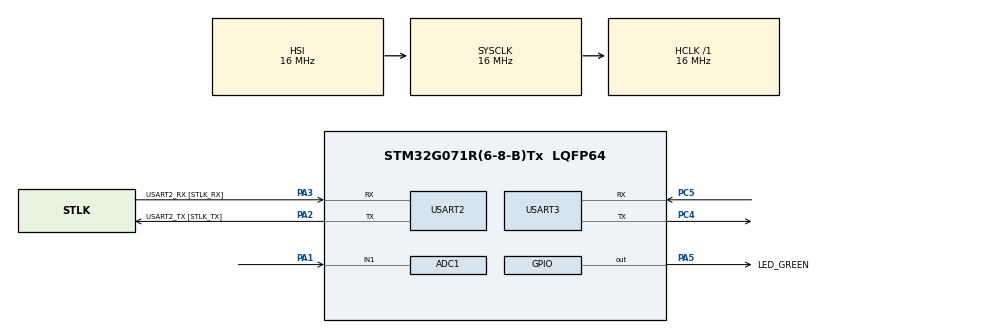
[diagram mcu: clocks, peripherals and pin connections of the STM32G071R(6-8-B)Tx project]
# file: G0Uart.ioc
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ADC1.Channel-0\#ChannelRegularConversion=ADC_CHANNEL_1
ADC1.ContinuousConvMode=ENABLE
ADC1.NbrOfConversionFlag=1
ADC1.Rank-0\#ChannelRegularConversion=1
ADC1.SamplingTime-0\#ChannelRegularConversion=ADC_SAMPLINGTIME_COMMON_1
ADC1.SelectedChannel=ADC_CHANNEL_1
ADC1.master=1
Dma.ADC1.0.Direction=DMA_PERIPH_TO_MEMORY
Dma.ADC1.0.EventEnable=DISABLE
Dma.ADC1.0.Instance=DMA1_Channel1
Dma.ADC1.0.MemDataAlignment=DMA_MDATAALIGN_HALFWORD
Dma.ADC1.0.MemInc=DMA_MINC_ENABLE
Dma.ADC1.0.Mode=DMA_NORMAL
Dma.ADC1.0.PeriphDataAlignment=DMA_PDATAALIGN_HALFWORD
Dma.ADC1.0.PeriphInc=DMA_PINC_DISABLE
Dma.ADC1.0.Polarity=HAL_DMAMUX_REQ_GEN_RISING
Dma.ADC1.0.Priority=DMA_PRIORITY_LOW
Dma.ADC1.0.RequestNumber=1
Dma.ADC1.0.SignalID=NONE
Dma.ADC1.0.SyncEnable=DISABLE
Dma.ADC1.0.SyncPolarity=HAL_DMAMUX_SYNC_NO_EVENT
Dma.ADC1.0.SyncRequestNumber=1
Dma.ADC1.0.SyncSignalID=NONE
Dma.Request0=ADC1
Dma.Request1=USART3_RX
Dma.USART3_RX.1.Direction=DMA_PERIPH_TO_MEMORY
Dma.USART3_RX.1.EventEnable=DISABLE
Dma.USART3_RX.1.Instance=DMA1_Channel2
Dma.USART3_RX.1.MemDataAlignment=DMA_MDATAALIGN_BYTE
Dma.USART3_RX.1.MemInc=DMA_MINC_ENABLE
Dma.USART3_RX.1.Mode=DMA_NORMAL
Dma.USART3_RX.1.PeriphDataAlignment=DMA_PDATAALIGN_BYTE
Dma.USART3_RX.1.PeriphInc=DMA_PINC_DISABLE
Dma.USART3_RX.1.Polarity=HAL_DMAMUX_REQ_GEN_RISING
Dma.USART3_RX.1.Priority=DMA_PRIORITY_LOW
Dma.USART3_RX.1.RequestNumber=1
Dma.USART3_RX.1.SignalID=NONE
Dma.USART3_RX.1.SyncEnable=DISABLE
Dma.USART3_RX.1.SyncPolarity=HAL_DMAMUX_SYNC_NO_EVENT
Dma.USART3_RX.1.SyncRequestNumber=1
Dma.USART3_RX.1.SyncSignalID=NONE
Mcu.Family=STM32G0
Mcu.Name=STM32G071R(6-8-B)Tx
Mcu.Package=LQFP64
NVIC.ADC1_COMP_IRQn=true\:0\:0\:false\:false\:true\:true\:true\:true
NVIC.DMA1_Channel1_IRQn=true\:0\:0\:false\:false\:true\:false\:true\:true
NVIC.DMA1_Channel2_3_IRQn=true\:0\:0\:false\:false\:true\:false\:true\:true
NVIC.USART3_4_LPUART1_IRQn=true\:0\:0\:false\:false\:true\:true\:true\:true
PA1.Mode=IN1
PA1.Signal=ADC1_IN1
PA13.GPIO_Label=TMS
PA13.Mode=Serial_Wire
PA13.Signal=SYS_SWDIO
PA14-BOOT0.GPIO_Label=TCK
PA14-BOOT0.Mode=Serial_Wire
PA14-BOOT0.Signal=SYS_SWCLK
PA2.GPIO_Label=USART2_TX [STLK_TX]
PA2.GPIO_PuPd=GPIO_PULLUP
PA2.Mode=Asynchronous
PA2.Signal=USART2_TX
PA3.GPIO_Label=USART2_RX [STLK_RX]
PA3.GPIO_PuPd=GPIO_PULLUP
PA3.Mode=Asynchronous
PA3.Signal=USART2_RX
PA5.GPIO_Label=LED_GREEN
PA5.GPIO_Speed=GPIO_SPEED_FREQ_HIGH
PA5.Signal=GPIO_Output
PC13.Mode=SYS_WakeUp1
PC13.Signal=SYS_WKUP2
PC14-OSC32_IN\ (PC14).Mode=LSE-External-Oscillator
PC14-OSC32_IN\ (PC14).Signal=RCC_OSC32_IN
PC15-OSC32_OUT\ (PC15).Mode=LSE-External-Oscillator
PC15-OSC32_OUT\ (PC15).Signal=RCC_OSC32_OUT
PC4.Mode=Asynchronous
PC4.Signal=USART3_TX
PC5.Mode=Asynchronous
PC5.Signal=USART3_RX
PF0-OSC_IN\ (PF0).GPIO_Label=MCO
PF0-OSC_IN\ (PF0).Mode=HSE-External-Clock-Source
PF0-OSC_IN\ (PF0).Signal=RCC_OSC_IN
ProjectManager.HeapSize=0x200
ProjectManager.StackSize=0x400
ProjectManager.TargetToolchain=STM32CubeIDE
RCC.AHBFreq_Value=16000000
RCC.CortexFreq_Value=16000000
RCC.EXTERNAL_CLOCK_VALUE=12288000
RCC.HCLKFreq_Value=16000000
RCC.HSE_VALUE=8000000
RCC.HSI_VALUE=16000000
RCC.SYSCLKFreq_VALUE=16000000
RCC.VCOOutputFreq_Value=128000000
TIM2.Period=30-1
TIM2.Prescaler=16-1
USART2.VirtualMode-Asynchronous=VM_ASYNC
USART3.VirtualMode-Asynchronous=VM_ASYNC
VP_TIM2_VS_ClockSourceINT.Mode=Internal
board=NUCLEO-G071RB

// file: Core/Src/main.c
/* USER CODE BEGIN Header */
/**
  ******************************************************************************
  * @file           : main.c
  * @brief          : Main program body
  ******************************************************************************
  * @attention
  *
  * Copyright (c) 2023 STMicroelectronics.
  * All rights reserved.
  *
  * This software is licensed under terms that can be found in the LICENSE file
  * in the root directory of this software component.
  * If no LICENSE file comes with this software, it is provided AS-IS.
  *
  ******************************************************************************
  */
/* USER CODE END Header */
#include "main.h"

/* USER CODE BEGIN Includes */
#include <string.h>
/* USER CODE END Includes */

/* USER CODE BEGIN PD */
char RxBuf[10];
uint8_t tempBuf[10];
uint8_t okflag=0;
char speed , test, turn;
uint16_t  noTurns;

uint32_t combine;

/* USER CODE END PD */

ADC_HandleTypeDef hadc1;
DMA_HandleTypeDef hdma_adc1;

TIM_HandleTypeDef htim2;

UART_HandleTypeDef huart2;
UART_HandleTypeDef huart3;
DMA_HandleTypeDef hdma_usart3_rx;

void SystemClock_Config(void);
static void MX_GPIO_Init(void);
static void MX_DMA_Init(void);
static void MX_ADC1_Init(void);
static void MX_TIM2_Init(void);
static void MX_USART2_UART_Init(void);
static void MX_USART3_UART_Init(void);
/* USER CODE BEGIN PFP */
uint8_t count = 0;

/* USER CODE END PFP */

/* USER CODE BEGIN 0 */
void HAL_UART_RxCpltCallback(UART_HandleTypeDef *huart){
	UNUSED(huart);
	okflag = 1;

}
/* USER CODE END 0 */

int main(void)
{

  /* MCU Configuration--------------------------------------------------------*/

  /* Reset of all peripherals, Initializes the Flash interface and the Systick. */
  HAL_Init();

  /* Configure the system clock */
  SystemClock_Config();

  /* Initialize all configured peripherals */
  MX_GPIO_Init();
  MX_DMA_Init();
  MX_ADC1_Init();
  MX_TIM2_Init();
  MX_USART2_UART_Init();
  MX_USART3_UART_Init();
  /* USER CODE BEGIN 2 */

HAL_UART_Receive_DMA(&huart3,(uint8_t* )RxBuf,10);
  /* USER CODE END 2 */

  /* Infinite loop */
  /* USER CODE BEGIN WHILE */
  while (1)
  {
	  if (okflag == 1)
	  {	int i =9;
		  okflag =0;
		  while(i--){
		  tempBuf[i] = RxBuf[i];
		  }
		  speed = RxBuf[0];
		  test  = RxBuf[2];
		  turn =  RxBuf[4];

		  noTurns = 100*(int)(RxBuf[6]) +10*(int)(RxBuf[7]) + (int)(RxBuf[8]);

		  HAL_UART_Receive_DMA(&huart3, (uint8_t* )RxBuf,10);
	  }

    /* USER CODE END WHILE */

    /* USER CODE BEGIN 3 */
	  count = 38;
	  HAL_UART_Transmit(&huart3, (uint8_t *)&count, 1, 10);
	  HAL_Delay(1000);
  }
  /* USER CODE END 3 */
}

void SystemClock_Config(void)
{
  RCC_OscInitTypeDef RCC_OscInitStruct = {0};
  RCC_ClkInitTypeDef RCC_ClkInitStruct = {0};

  /** Configure the main internal regulator output voltage
  */
  HAL_PWREx_ControlVoltageScaling(PWR_REGULATOR_VOLTAGE_SCALE1);

  /** Initializes the RCC Oscillators according to the specified parameters
  * in the RCC_OscInitTypeDef structure.
  */
  RCC_OscInitStruct.OscillatorType = RCC_OSCILLATORTYPE_HSI;
  RCC_OscInitStruct.HSIState = RCC_HSI_ON;
  RCC_OscInitStruct.HSIDiv = RCC_HSI_DIV1;
  RCC_OscInitStruct.HSICalibrationValue = RCC_HSICALIBRATION_DEFAULT;
  RCC_OscInitStruct.PLL.PLLState = RCC_PLL_NONE;
  if (HAL_RCC_OscConfig(&RCC_OscInitStruct) != HAL_OK)
  {
    Error_Handler();
  }

  /** Initializes the CPU, AHB and APB buses clocks
  */
  RCC_ClkInitStruct.ClockType = RCC_CLOCKTYPE_HCLK|RCC_CLOCKTYPE_SYSCLK
                              |RCC_CLOCKTYPE_PCLK1;
  RCC_ClkInitStruct.SYSCLKSource = RCC_SYSCLKSOURCE_HSI;
  RCC_ClkInitStruct.AHBCLKDivider = RCC_SYSCLK_DIV1;
  RCC_ClkInitStruct.APB1CLKDivider = RCC_HCLK_DIV1;

  if (HAL_RCC_ClockConfig(&RCC_ClkInitStruct, FLASH_LATENCY_0) != HAL_OK)
  {
    Error_Handler();
  }
}

static void MX_ADC1_Init(void)
{

  ADC_ChannelConfTypeDef sConfig = {0};

  /** Configure the global features of the ADC (Clock, Resolution, Data Alignment and number of conversion)
  */
  hadc1.Instance = ADC1;
  hadc1.Init.ClockPrescaler = ADC_CLOCK_SYNC_PCLK_DIV2;
  hadc1.Init.Resolution = ADC_RESOLUTION_12B;
  hadc1.Init.DataAlign = ADC_DATAALIGN_RIGHT;
  hadc1.Init.ScanConvMode = ADC_SCAN_DISABLE;
  hadc1.Init.EOCSelection = ADC_EOC_SINGLE_CONV;
  hadc1.Init.LowPowerAutoWait = DISABLE;
  hadc1.Init.LowPowerAutoPowerOff = DISABLE;
  hadc1.Init.ContinuousConvMode = ENABLE;
  hadc1.Init.NbrOfConversion = 1;
  hadc1.Init.ExternalTrigConv = ADC_SOFTWARE_START;
  hadc1.Init.ExternalTrigConvEdge = ADC_EXTERNALTRIGCONVEDGE_NONE;
  hadc1.Init.DMAContinuousRequests = DISABLE;
  hadc1.Init.Overrun = ADC_OVR_DATA_PRESERVED;
  hadc1.Init.SamplingTimeCommon1 = ADC_SAMPLETIME_1CYCLE_5;
  hadc1.Init.SamplingTimeCommon2 = ADC_SAMPLETIME_1CYCLE_5;
  hadc1.Init.OversamplingMode = DISABLE;
  hadc1.Init.TriggerFrequencyMode = ADC_TRIGGER_FREQ_HIGH;
  if (HAL_ADC_Init(&hadc1) != HAL_OK)
  {
    Error_Handler();
  }

  /** Configure Regular Channel
  */
  sConfig.Channel = ADC_CHANNEL_1;
  sConfig.Rank = ADC_REGULAR_RANK_1;
  sConfig.SamplingTime = ADC_SAMPLINGTIME_COMMON_1;
  if (HAL_ADC_ConfigChannel(&hadc1, &sConfig) != HAL_OK)
  {
    Error_Handler();
  }

}

static void MX_TIM2_Init(void)
{

  TIM_ClockConfigTypeDef sClockSourceConfig = {0};
  TIM_MasterConfigTypeDef sMasterConfig = {0};

  htim2.Instance = TIM2;
  htim2.Init.Prescaler = 16-1;
  htim2.Init.CounterMode = TIM_COUNTERMODE_UP;
  htim2.Init.Period = 30-1;
  htim2.Init.ClockDivision = TIM_CLOCKDIVISION_DIV1;
  htim2.Init.AutoReloadPreload = TIM_AUTORELOAD_PRELOAD_DISABLE;
  if (HAL_TIM_Base_Init(&htim2) != HAL_OK)
  {
    Error_Handler();
  }
  sClockSourceConfig.ClockSource = TIM_CLOCKSOURCE_INTERNAL;
  if (HAL_TIM_ConfigClockSource(&htim2, &sClockSourceConfig) != HAL_OK)
  {
    Error_Handler();
  }
  sMasterConfig.MasterOutputTrigger = TIM_TRGO_RESET;
  sMasterConfig.MasterSlaveMode = TIM_MASTERSLAVEMODE_DISABLE;
  if (HAL_TIMEx_MasterConfigSynchronization(&htim2, &sMasterConfig) != HAL_OK)
  {
    Error_Handler();
  }

}

static void MX_USART2_UART_Init(void)
{

  huart2.Instance = USART2;
  huart2.Init.BaudRate = 115200;
  huart2.Init.WordLength = UART_WORDLENGTH_8B;
  huart2.Init.StopBits = UART_STOPBITS_1;
  huart2.Init.Parity = UART_PARITY_NONE;
  huart2.Init.Mode = UART_MODE_TX_RX;
  huart2.Init.HwFlowCtl = UART_HWCONTROL_NONE;
  huart2.Init.OverSampling = UART_OVERSAMPLING_16;
  huart2.Init.OneBitSampling = UART_ONE_BIT_SAMPLE_DISABLE;
  huart2.Init.ClockPrescaler = UART_PRESCALER_DIV1;
  huart2.AdvancedInit.AdvFeatureInit = UART_ADVFEATURE_NO_INIT;
  if (HAL_UART_Init(&huart2) != HAL_OK)
  {
    Error_Handler();
  }
  if (HAL_UARTEx_SetTxFifoThreshold(&huart2, UART_TXFIFO_THRESHOLD_1_8) != HAL_OK)
  {
    Error_Handler();
  }
  if (HAL_UARTEx_SetRxFifoThreshold(&huart2, UART_RXFIFO_THRESHOLD_1_8) != HAL_OK)
  {
    Error_Handler();
  }
  if (HAL_UARTEx_DisableFifoMode(&huart2) != HAL_OK)
  {
    Error_Handler();
  }

}

static void MX_USART3_UART_Init(void)
{

  huart3.Instance = USART3;
  huart3.Init.BaudRate = 115200;
  huart3.Init.WordLength = UART_WORDLENGTH_8B;
  huart3.Init.StopBits = UART_STOPBITS_1;
  huart3.Init.Parity = UART_PARITY_NONE;
  huart3.Init.Mode = UART_MODE_TX_RX;
  huart3.Init.HwFlowCtl = UART_HWCONTROL_NONE;
  huart3.Init.OverSampling = UART_OVERSAMPLING_16;
  huart3.Init.OneBitSampling = UART_ONE_BIT_SAMPLE_DISABLE;
  huart3.Init.ClockPrescaler = UART_PRESCALER_DIV1;
  huart3.AdvancedInit.AdvFeatureInit = UART_ADVFEATURE_NO_INIT;
  if (HAL_UART_Init(&huart3) != HAL_OK)
  {
    Error_Handler();
  }

}

static void MX_DMA_Init(void)
{

  /* DMA controller clock enable */
  __HAL_RCC_DMA1_CLK_ENABLE();

  /* DMA interrupt init */
  /* DMA1_Channel1_IRQn interrupt configuration */
  HAL_NVIC_SetPriority(DMA1_Channel1_IRQn, 0, 0);
  HAL_NVIC_EnableIRQ(DMA1_Channel1_IRQn);
  /* DMA1_Channel2_3_IRQn interrupt configuration */
  HAL_NVIC_SetPriority(DMA1_Channel2_3_IRQn, 0, 0);
  HAL_NVIC_EnableIRQ(DMA1_Channel2_3_IRQn);

}

static void MX_GPIO_Init(void)
{
  GPIO_InitTypeDef GPIO_InitStruct = {0};

  /* GPIO Ports Clock Enable */
  __HAL_RCC_GPIOC_CLK_ENABLE();
  __HAL_RCC_GPIOF_CLK_ENABLE();
  __HAL_RCC_GPIOA_CLK_ENABLE();

  /*Configure GPIO pin Output Level */
  HAL_GPIO_WritePin(LED_GREEN_GPIO_Port, LED_GREEN_Pin, GPIO_PIN_RESET);

  /*Configure GPIO pin : LED_GREEN_Pin */
  GPIO_InitStruct.Pin = LED_GREEN_Pin;
  GPIO_InitStruct.Mode = GPIO_MODE_OUTPUT_PP;
  GPIO_InitStruct.Pull = GPIO_NOPULL;
  GPIO_InitStruct.Speed = GPIO_SPEED_FREQ_HIGH;
  HAL_GPIO_Init(LED_GREEN_GPIO_Port, &GPIO_InitStruct);

}

void Error_Handler(void)
{
  __disable_irq();
  while (1)
  {
  }
}
